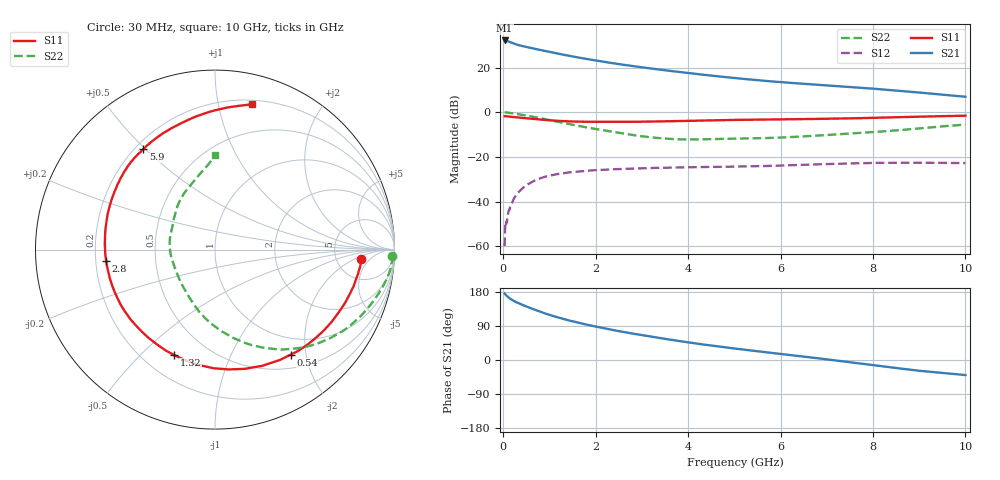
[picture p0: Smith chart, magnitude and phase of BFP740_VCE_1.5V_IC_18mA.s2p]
! Infineon Technologies  Discrete & RF Semiconductors
! BFP740
! VCE =  1.5 V,  IC =  18 mA
! Common Emitter S-Parameters:  Jan 2016
# GHz  S  MA  R  50
!  f  S11  S21  S12  S22
! GHz  MAG  ANG  MAG  ANG  MAG  ANG  MAG  ANG
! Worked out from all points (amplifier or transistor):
!   229 points, 30 MHz to 10 GHz, reference 50 ohm
!   highest |S21| = 32.1 dB at 30 MHz (marker M1)
!   |S21| within 3 dB of that: start of sweep to 516.8 MHz
!   unconditionally stable (mu >= 1): 6.107 GHz to end of sweep
!   at 280 MHz: K = 0.20, MSG = 33.8 dB, |S12| = -37.1 dB
!   at 1.78 GHz: K = 0.43, MSG = 25.1 dB, |S12| = -26.2 dB
!   at 10 GHz: K = 1.06, MAG = 13.4 dB, |S12| = -22.8 dB
!   S11 on the Smith chart (normalised r, x): 30 MHz: 8.90, -2.69; 540 MHz: 0.71, -1.73; 1.32 GHz: 0.33, -0.63; 2.8 GHz: 0.24, -0.05; 5.9 GHz: 0.23, +0.49; 10 GHz: 0.23, +1.26
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0.03  0.8135 -3.6  40.4 175.5  0.001 97.0  0.9873 -2.0
0.05  0.8151 -6.0  40.34 172.9  0.0034 103.7  0.9908 -3.7
0.08  0.8089 -9.4  39.37 168.8  0.0034 87.5  0.9839 -6.2
0.11  0.801 -13.0  38.37 165.5  0.0057 88.3  0.9751 -8.7
0.15  0.7932 -17.3  36.88 161.8  0.0076 87.1  0.9615 -11.6
0.2  0.7829 -22.4  35.2 157.9  0.0099 78.4  0.9446 -14.9
0.34  0.7563 -36.0  31.62 149.5  0.0166 72.3  0.8984 -23.4
0.54  0.7212 -54.2  28.25 139.3  0.0246 62.7  0.8292 -34.5
0.7  0.699 -67.9  26.03 131.8  0.0302 56.5  0.773 -42.8
0.9  0.6717 -83.7  23.61 123.0  0.0358 49.8  0.7005 -52.2
1.1  0.6495 -97.7  21.36 115.3  0.0399 44.0  0.6332 -60.7
1.32  0.6298 -111.3  19.21 107.7  0.0435 38.5  0.5686 -69.1
1.7  0.6128 -131.5  16.25 96.2  0.0478 31.3  0.4767 -81.9
2.22  0.607 -153.9  13.22 82.6  0.0516 24.1  0.3841 -98.6
2.8  0.6096 -173.9  10.8 69.7  0.0546 18.3  0.3073 -116.6
3.4  0.6213 168.9  8.955 57.6  0.057 13.6  0.262 -137.9
4.3  0.6485 148.2  6.955 41.4  0.0591 8.1  0.247 -169.8
5.1  0.6735 135.2  5.699 28.9  0.0609 4.6  0.2566 169.6
5.9  0.6876 125.6  4.808 17.6  0.0634 1.9  0.2678 153.3
6.8  0.7079 115.0  4.106 4.7  0.0679 -2.3  0.2991 137.6
8.4  0.7662 92.9  3.118 -19.6  0.0738 -13.0  0.3835 110.9
10  0.8352 75.8  2.217 -39.7  0.0726 -22.0  0.527 89.8
